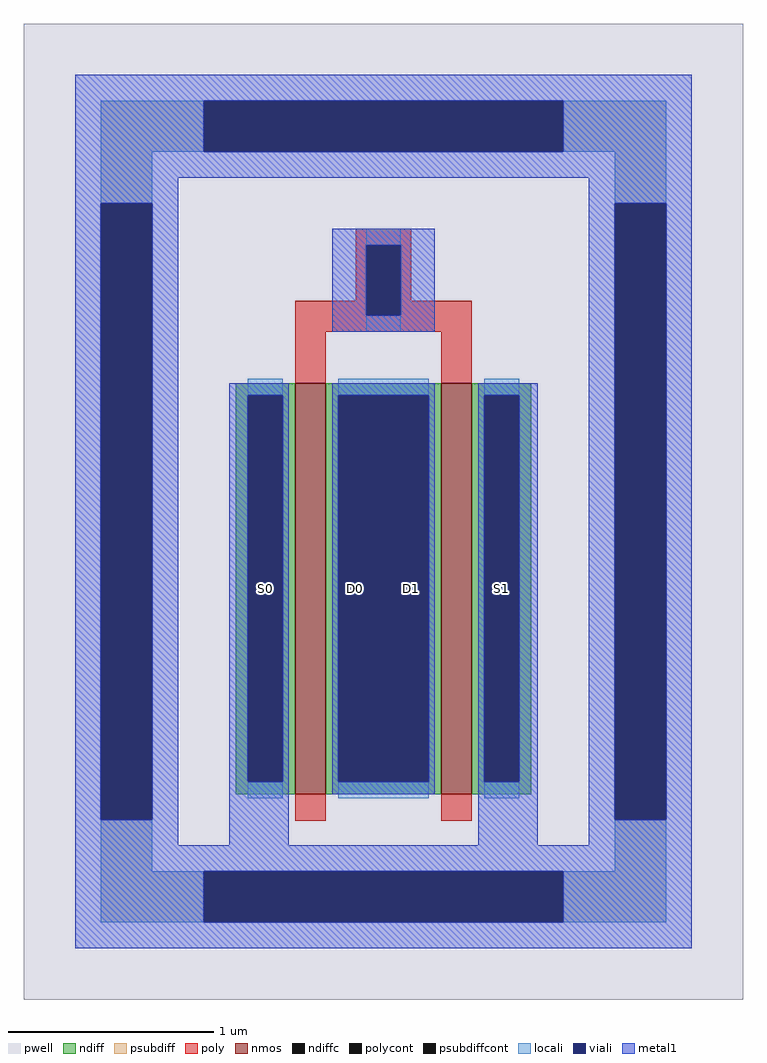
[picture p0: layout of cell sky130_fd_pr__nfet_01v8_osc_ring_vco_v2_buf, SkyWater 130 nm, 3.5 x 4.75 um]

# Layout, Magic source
magic
tech sky130A
magscale 1 2
<< pwell >>
rect -424 -835 276 115
<< nmos >>
rect -160 -635 -130 -235
rect -18 -635 12 -235
<< ndiff >>
rect -218 -247 -160 -235
rect -218 -623 -206 -247
rect -172 -623 -160 -247
rect -218 -635 -160 -623
rect -130 -247 -18 -235
rect -130 -623 -118 -247
rect -30 -623 -18 -247
rect -130 -635 -18 -623
rect 12 -247 70 -235
rect 12 -623 24 -247
rect 58 -623 70 -247
rect 12 -635 70 -623
<< ndiffc >>
rect -206 -623 -172 -247
rect -118 -623 -30 -247
rect 24 -623 58 -247
<< psubdiff >>
rect -349 -10 -249 40
rect 101 -10 201 40
rect -349 -60 -299 -10
rect 151 -60 201 -10
rect -349 -710 -299 -660
rect 151 -710 201 -660
rect -349 -760 -249 -710
rect 101 -760 201 -710
<< psubdiffcont >>
rect -249 -10 101 40
rect -349 -660 -299 -60
rect 151 -660 201 -60
rect -249 -760 101 -710
<< poly >>
rect -101 -101 -47 -85
rect -101 -155 -91 -101
rect -160 -169 -91 -155
rect -57 -155 -47 -101
rect -57 -169 12 -155
rect -160 -185 12 -169
rect -160 -235 -130 -185
rect -18 -235 12 -185
rect -160 -661 -130 -635
rect -18 -661 12 -635
<< polycont >>
rect -91 -169 -57 -101
<< locali >>
rect -349 -10 -249 40
rect 101 -10 201 40
rect -349 -60 -299 -10
rect 151 -60 201 -10
rect -91 -101 -57 -85
rect -91 -185 -57 -169
rect -206 -247 -172 -231
rect -206 -639 -172 -623
rect -118 -247 -30 -231
rect -118 -639 -30 -623
rect 24 -247 58 -231
rect 24 -639 58 -623
rect -349 -710 -299 -660
rect 151 -710 201 -660
rect -349 -760 -249 -710
rect 101 -760 201 -710
<< viali >>
rect -249 -10 101 40
rect -349 -660 -299 -60
rect -91 -169 -57 -101
rect -206 -623 -172 -247
rect -118 -623 -30 -247
rect 24 -623 58 -247
rect 151 -660 201 -60
rect -249 -760 101 -710
<< metal1 >>
rect -374 40 226 65
rect -374 -10 -249 40
rect 101 -10 226 40
rect -374 -35 226 -10
rect -374 -60 -274 -35
rect -374 -660 -349 -60
rect -299 -660 -274 -60
rect 126 -60 226 -35
rect -124 -101 -24 -85
rect -124 -169 -91 -101
rect -57 -169 -24 -101
rect -124 -185 -24 -169
rect -374 -685 -274 -660
rect -224 -247 -166 -235
rect -224 -623 -206 -247
rect -172 -623 -166 -247
rect -224 -685 -166 -623
rect -124 -247 -24 -235
rect -124 -623 -118 -247
rect -30 -623 -24 -247
rect -124 -635 -24 -623
rect 18 -247 76 -235
rect 18 -623 24 -247
rect 58 -623 76 -247
rect 18 -685 76 -623
rect 126 -660 151 -60
rect 201 -660 226 -60
rect 126 -685 226 -660
rect -374 -710 226 -685
rect -374 -760 -249 -710
rect 101 -760 226 -710
rect -374 -785 226 -760
<< labels >>
rlabel ndiffc -101 -435 -101 -435 0 D0
port 9 nsew
rlabel ndiffc -189 -435 -189 -435 0 S0
port 10 nsew
rlabel ndiffc 41 -435 41 -435 0 S1
port 13 nsew
rlabel ndiffc -47 -435 -47 -435 0 D1
port 12 nsew
<< end >>
